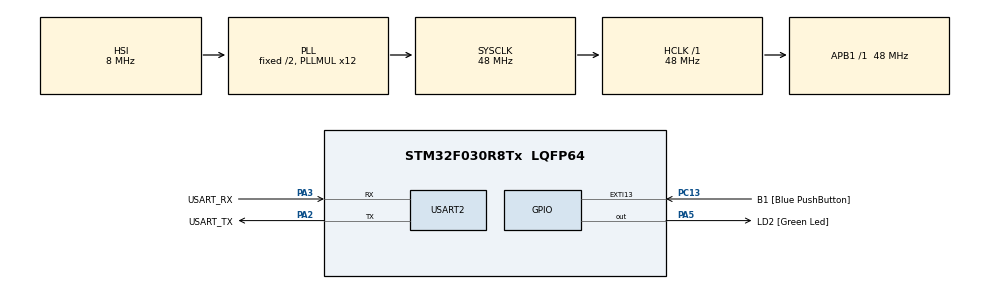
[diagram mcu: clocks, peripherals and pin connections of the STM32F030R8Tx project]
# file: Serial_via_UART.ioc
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Mcu.Family=STM32F0
Mcu.Name=STM32F030R8Tx
Mcu.Package=LQFP64
NVIC.EXTI4_15_IRQn=true\:0\:0\:false\:false\:true\:true\:true\:true
NVIC.USART2_IRQn=true\:0\:0\:false\:false\:true\:true\:true\:true
PA13.GPIO_Label=TMS
PA13.Mode=Serial_Wire
PA13.Signal=SYS_SWDIO
PA14.GPIO_Label=TCK
PA14.Mode=Serial_Wire
PA14.Signal=SYS_SWCLK
PA2.GPIO_Label=USART_TX
PA2.GPIO_Mode=GPIO_MODE_AF_PP
PA2.GPIO_PuPd=GPIO_NOPULL
PA2.GPIO_Speed=GPIO_SPEED_FREQ_LOW
PA2.Mode=Asynchronous
PA2.Signal=USART2_TX
PA3.GPIO_Label=USART_RX
PA3.GPIO_Mode=GPIO_MODE_AF_PP
PA3.GPIO_PuPd=GPIO_NOPULL
PA3.GPIO_Speed=GPIO_SPEED_FREQ_LOW
PA3.Mode=Asynchronous
PA3.Signal=USART2_RX
PA5.GPIO_Label=LD2 [Green Led]
PA5.GPIO_Mode=GPIO_MODE_OUTPUT_PP
PA5.GPIO_PuPd=GPIO_NOPULL
PA5.GPIO_Speed=GPIO_SPEED_FREQ_LOW
PA5.Signal=GPIO_Output
PC13.GPIO_Label=B1 [Blue PushButton]
PC13.GPIO_ModeDefaultEXTI=GPIO_MODE_IT_FALLING
PC13.Signal=GPXTI13
PC14-OSC32_IN.Mode=LSE-External-Oscillator
PC14-OSC32_IN.Signal=RCC_OSC32_IN
PC15-OSC32_OUT.Mode=LSE-External-Oscillator
PC15-OSC32_OUT.Signal=RCC_OSC32_OUT
PF0-OSC_IN.Mode=HSE-External-Clock-Source
PF0-OSC_IN.Signal=RCC_OSC_IN
PF1-OSC_OUT.Signal=RCC_OSC_OUT
ProjectManager.HeapSize=0x200
ProjectManager.StackSize=0x400
ProjectManager.TargetToolchain=STM32CubeIDE
RCC.AHBFreq_Value=48000000
RCC.APB1Freq_Value=48000000
RCC.APB1TimFreq_Value=48000000
RCC.HCLKFreq_Value=48000000
RCC.PLLMUL=RCC_PLL_MUL12
RCC.SYSCLKFreq_VALUE=48000000
RCC.SYSCLKSource=RCC_SYSCLKSOURCE_PLLCLK
USART2.VirtualMode-Asynchronous=VM_ASYNC
board=NUCLEO-F030R8

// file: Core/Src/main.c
/* USER CODE BEGIN Header */
/**
  ******************************************************************************
  * @file           : main.c
  * @brief          : Main program body
  ******************************************************************************
  * @attention
  *
  * Copyright (c) 2025 STMicroelectronics.
  * All rights reserved.
  *
  * This software is licensed under terms that can be found in the LICENSE file
  * in the root directory of this software component.
  * If no LICENSE file comes with this software, it is provided AS-IS.
  *
  ******************************************************************************
  */
/* USER CODE END Header */
#include "main.h"

/* USER CODE BEGIN Includes */
#include <stdio.h>
#include <string.h>
/* USER CODE END Includes */

UART_HandleTypeDef huart2;

/* USER CODE BEGIN PV */
volatile uint8_t uart_tx_complete = 1;  // transmitting completion flag. 1 = Ready, 0 = Transmitting is in process
volatile uint8_t buffer[50] = {0}; // message for asinc transmitting by HAL_UART_Transmit_IT. Should be global to avoid memory collision during parallel asynchronous work of HAL_UART_Transmit_IT

/* USER CODE END PV */

void SystemClock_Config(void);
static void MX_GPIO_Init(void);
static void MX_USART2_UART_Init(void);

/* USER CODE BEGIN PFP */

/* redefine fputc() and fgetc(), so we can use printf() and scanf() with UART serial port
 */
#ifdef __GNUC__
#define PUTCHAR_PROTOTYPE int __io_putchar(int ch)
#define GETCHAR_PROTOTYPE int __io_getchar(void)
#else
#define PUTCHAR_PROTOTYPE int fputc(int ch, FILE *f)
#define GETCHAR_PROTOTYPE int fgetc(FILE *f)
#endif

PUTCHAR_PROTOTYPE
{
  HAL_UART_Transmit(&huart2, (uint8_t *)&ch, 1, HAL_MAX_DELAY);
  return ch;
}

GETCHAR_PROTOTYPE
{
  uint8_t ch = 0;

  /* Clear the Overrun flag just before receiving the first character */
  __HAL_UART_CLEAR_OREFLAG(&huart2);

  /* Wait for reception of a character on the USART RX line and echo this
   * character on console */
  HAL_UART_Receive(&huart2, (uint8_t *)&ch, 1, HAL_MAX_DELAY);
  HAL_UART_Transmit(&huart2, (uint8_t *)&ch, 1, HAL_MAX_DELAY);
  return ch;
}

/* USER CODE END PFP */

/* USER CODE BEGIN 0 */

// define what we do in case of GPIO interrupt
void HAL_GPIO_EXTI_Callback(uint16_t GPIO_Pin)
{
	/* We get here after GRIO interruption caused by button push
	   We will write to serial UART with asynchronous HAL_UART_Transmit_IT.
	   Note, variable buffer should be global for this. */
	static uint8_t counter = 0;

	++counter;

	if (uart_tx_complete) {
	    uart_tx_complete = 0;  // Mark as transmitting
	    sprintf(buffer, "Blue button is pressed %d times...", counter);
	    HAL_UART_Transmit_IT(&huart2, buffer, strlen(buffer));
	}
}

void HAL_UART_TxCpltCallback(UART_HandleTypeDef *huart)
{
/*
This is overriding of weak callback function
Here we will check if transmission finished
 */

  if (huart->Instance == USART2) // Check if it is USART2 Transmission complete, do something
  {
	  uart_tx_complete = 1;  // Mark transmission as complete
	  uint8_t msg[] = "Asinc Transmission complete\n\r";
	  HAL_UART_Transmit(&huart2, msg, strlen(msg), 20); // Sent message to UART in blocking manner with timeout 20 ms
  }
}

/* USER CODE END 0 */

int main(void)
{

  /* MCU Configuration--------------------------------------------------------*/

  /* Reset of all peripherals, Initializes the Flash interface and the Systick. */
  HAL_Init();

  /* USER CODE BEGIN Init */
	  // Disable internal buffering for the input stream, is must for redefined scanf() work correctly
	  setvbuf(stdin, NULL, _IONBF, 0);
  /* USER CODE END Init */

  /* Configure the system clock */
  SystemClock_Config();

  /* Initialize all configured peripherals */
  MX_GPIO_Init();
  MX_USART2_UART_Init();
  /* USER CODE BEGIN 2 */

  uint8_t msg[50] = {0};
  sprintf(msg, "Serial started at %d baud rate\n\r", huart2.Init.BaudRate);
  HAL_UART_Transmit(&huart2, msg, strlen(msg) , 20); // Sent message to UART in blocking manner with timeout 20 ms

	// using redefined printf() and scanf()
	char str[80];
	int i;
	float f;

	uart_tx_complete = 0;  // Mark as transmitting block
	printf("Enter your name: ");
	scanf("%79s", str);
	printf("\n");

	printf("Enter your age: ");
	scanf("%d", &i);
	printf("\n");

	printf("Hello, %s, %d years old.\r\n", str, i);

	printf("Enter a hexadecimal number: ");
	scanf("%x", &i);
	printf("\n");

	printf("You have entered %#x (%d).\r\n", i, i);

	/* to use floating point input/output
	 the option should be anabled in project properties. See details here:
	 https://forum.digikey.com/t/easily-use-scanf-on-stm32/21103
	 */
	printf("Enter a floating point number: ");
	scanf("%f", &f);
	printf("\n");

	printf("You have entered %f \r\n", f);
	uart_tx_complete = 1;  // Unblock, transmitting is finished

  /* USER CODE END 2 */

  /* Infinite loop */
  while (1)
  {

    /* USER CODE BEGIN 3 */

	// blink LCD
	HAL_GPIO_TogglePin(LD2_GPIO_Port, LD2_Pin);
	HAL_Delay(500);

  }
  /* USER CODE END 3 */
}

void SystemClock_Config(void)
{
  RCC_OscInitTypeDef RCC_OscInitStruct = {0};
  RCC_ClkInitTypeDef RCC_ClkInitStruct = {0};

  /** Initializes the RCC Oscillators according to the specified parameters
  * in the RCC_OscInitTypeDef structure.
  */
  RCC_OscInitStruct.OscillatorType = RCC_OSCILLATORTYPE_HSI;
  RCC_OscInitStruct.HSIState = RCC_HSI_ON;
  RCC_OscInitStruct.HSICalibrationValue = RCC_HSICALIBRATION_DEFAULT;
  RCC_OscInitStruct.PLL.PLLState = RCC_PLL_ON;
  RCC_OscInitStruct.PLL.PLLSource = RCC_PLLSOURCE_HSI;
  RCC_OscInitStruct.PLL.PLLMUL = RCC_PLL_MUL12;
  RCC_OscInitStruct.PLL.PREDIV = RCC_PREDIV_DIV1;
  if (HAL_RCC_OscConfig(&RCC_OscInitStruct) != HAL_OK)
  {
    Error_Handler();
  }

  /** Initializes the CPU, AHB and APB buses clocks
  */
  RCC_ClkInitStruct.ClockType = RCC_CLOCKTYPE_HCLK|RCC_CLOCKTYPE_SYSCLK
                              |RCC_CLOCKTYPE_PCLK1;
  RCC_ClkInitStruct.SYSCLKSource = RCC_SYSCLKSOURCE_PLLCLK;
  RCC_ClkInitStruct.AHBCLKDivider = RCC_SYSCLK_DIV1;
  RCC_ClkInitStruct.APB1CLKDivider = RCC_HCLK_DIV1;

  if (HAL_RCC_ClockConfig(&RCC_ClkInitStruct, FLASH_LATENCY_1) != HAL_OK)
  {
    Error_Handler();
  }
}

static void MX_USART2_UART_Init(void)
{

  huart2.Instance = USART2;
  huart2.Init.BaudRate = 38400;
  huart2.Init.WordLength = UART_WORDLENGTH_8B;
  huart2.Init.StopBits = UART_STOPBITS_1;
  huart2.Init.Parity = UART_PARITY_NONE;
  huart2.Init.Mode = UART_MODE_TX_RX;
  huart2.Init.HwFlowCtl = UART_HWCONTROL_NONE;
  huart2.Init.OverSampling = UART_OVERSAMPLING_16;
  huart2.Init.OneBitSampling = UART_ONE_BIT_SAMPLE_DISABLE;
  huart2.AdvancedInit.AdvFeatureInit = UART_ADVFEATURE_NO_INIT;
  if (HAL_UART_Init(&huart2) != HAL_OK)
  {
    Error_Handler();
  }

}

static void MX_GPIO_Init(void)
{
  GPIO_InitTypeDef GPIO_InitStruct = {0};

  /* GPIO Ports Clock Enable */
  __HAL_RCC_GPIOC_CLK_ENABLE();
  __HAL_RCC_GPIOF_CLK_ENABLE();
  __HAL_RCC_GPIOA_CLK_ENABLE();

  /*Configure GPIO pin Output Level */
  HAL_GPIO_WritePin(LD2_GPIO_Port, LD2_Pin, GPIO_PIN_RESET);

  /*Configure GPIO pin : B1_Pin */
  GPIO_InitStruct.Pin = B1_Pin;
  GPIO_InitStruct.Mode = GPIO_MODE_IT_FALLING;
  GPIO_InitStruct.Pull = GPIO_NOPULL;
  HAL_GPIO_Init(B1_GPIO_Port, &GPIO_InitStruct);

  /*Configure GPIO pin : LD2_Pin */
  GPIO_InitStruct.Pin = LD2_Pin;
  GPIO_InitStruct.Mode = GPIO_MODE_OUTPUT_PP;
  GPIO_InitStruct.Pull = GPIO_NOPULL;
  GPIO_InitStruct.Speed = GPIO_SPEED_FREQ_LOW;
  HAL_GPIO_Init(LD2_GPIO_Port, &GPIO_InitStruct);

  /* EXTI interrupt init*/
  HAL_NVIC_SetPriority(EXTI4_15_IRQn, 0, 0);
  HAL_NVIC_EnableIRQ(EXTI4_15_IRQn);

}

void Error_Handler(void)
{
  __disable_irq();
  while (1)
  {
  }
}
